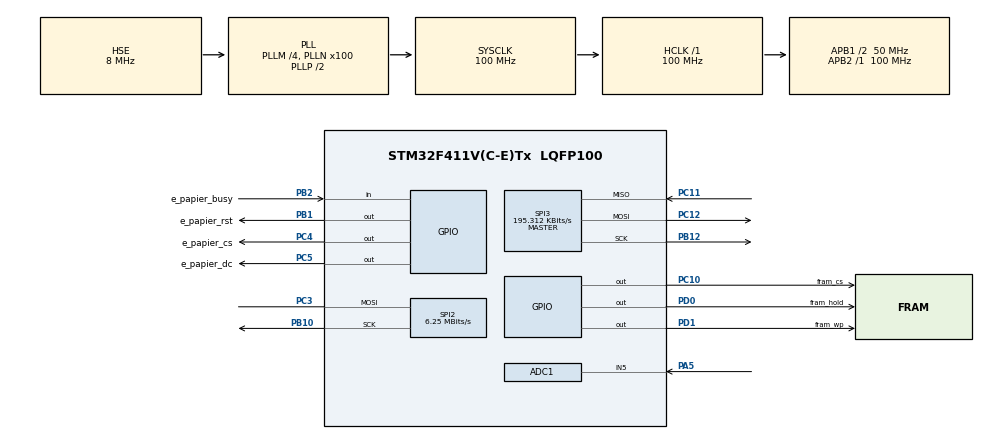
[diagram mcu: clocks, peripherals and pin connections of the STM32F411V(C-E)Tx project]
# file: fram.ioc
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ADC1.Channel-0\#ChannelRegularConversion=ADC_CHANNEL_5
ADC1.NbrOfConversionFlag=1
ADC1.Rank-0\#ChannelRegularConversion=1
ADC1.SamplingTime-0\#ChannelRegularConversion=ADC_SAMPLETIME_3CYCLES
ADC1.master=1
Mcu.Family=STM32F4
Mcu.Name=STM32F411V(C-E)Tx
Mcu.Package=LQFP100
NVIC.PriorityGroup=NVIC_PRIORITYGROUP_4
PA13.Mode=Serial_Wire
PA13.Signal=SYS_JTMS-SWDIO
PA14.Mode=Serial_Wire
PA14.Signal=SYS_JTCK-SWCLK
PA5.Signal=ADCx_IN5
PB1.GPIO_Label=e_papier_rst
PB1.PinState=GPIO_PIN_SET
PB1.Signal=GPIO_Output
PB10.Mode=Simplex_Bidirectional_Master
PB10.Signal=SPI2_SCK
PB12.Mode=Full_Duplex_Master
PB12.Signal=SPI3_SCK
PB2.GPIO_Label=e_papier_busy
PB2.Signal=GPIO_Input
PC10.GPIO_Label=fram_cs
PC10.PinState=GPIO_PIN_SET
PC10.Signal=GPIO_Output
PC11.Mode=Full_Duplex_Master
PC11.Signal=SPI3_MISO
PC12.Mode=Full_Duplex_Master
PC12.Signal=SPI3_MOSI
PC3.Mode=Simplex_Bidirectional_Master
PC3.Signal=SPI2_MOSI
PC4.GPIO_Label=e_papier_cs
PC4.PinState=GPIO_PIN_SET
PC4.Signal=GPIO_Output
PC5.GPIO_Label=e_papier_dc
PC5.Signal=GPIO_Output
PD0.GPIO_Label=fram_hold
PD0.PinState=GPIO_PIN_SET
PD0.Signal=GPIO_Output
PD1.GPIO_Label=fram_wp
PD1.PinState=GPIO_PIN_SET
PD1.Signal=GPIO_Output
PH0\ -\ OSC_IN.Mode=HSE-External-Oscillator
PH0\ -\ OSC_IN.Signal=RCC_OSC_IN
PH1\ -\ OSC_OUT.Mode=HSE-External-Oscillator
PH1\ -\ OSC_OUT.Signal=RCC_OSC_OUT
ProjectManager.HeapSize=0x200
ProjectManager.StackSize=0x400
ProjectManager.TargetToolchain=STM32CubeIDE
RCC.48MHZClocksFreq_Value=50000000
RCC.AHBFreq_Value=100000000
RCC.APB1CLKDivider=RCC_HCLK_DIV2
RCC.APB1Freq_Value=50000000
RCC.APB1TimFreq_Value=100000000
RCC.APB2Freq_Value=100000000
RCC.APB2TimFreq_Value=100000000
RCC.CortexFreq_Value=100000000
RCC.HCLKFreq_Value=100000000
RCC.HSE_VALUE=8000000
RCC.HSI_VALUE=16000000
RCC.LSE_VALUE=32768
RCC.PLLM=4
RCC.PLLN=100
RCC.PLLSourceVirtual=RCC_PLLSOURCE_HSE
RCC.SYSCLKFreq_VALUE=100000000
RCC.SYSCLKSource=RCC_SYSCLKSOURCE_PLLCLK
RCC.VCOOutputFreq_Value=200000000
SH.ADCx_IN5.0=ADC1_IN5,IN5
SPI2.BaudRatePrescaler=SPI_BAUDRATEPRESCALER_8
SPI2.CalculateBaudRate=6.25 MBits/s
SPI2.Direction=SPI_DIRECTION_1LINE
SPI2.Mode=SPI_MODE_MASTER
SPI2.VirtualType=VM_MASTER
SPI3.BaudRatePrescaler=SPI_BAUDRATEPRESCALER_256
SPI3.CLKPhase=SPI_PHASE_2EDGE
SPI3.CLKPolarity=SPI_POLARITY_HIGH
SPI3.CalculateBaudRate=195.312 KBits/s
SPI3.Direction=SPI_DIRECTION_2LINES
SPI3.Mode=SPI_MODE_MASTER
SPI3.VirtualType=VM_MASTER
board=custom

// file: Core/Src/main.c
/* USER CODE BEGIN Header */
/**
  ******************************************************************************
  * @file           : main.c
  * @brief          : Main program body
  ******************************************************************************
  * @attention
  *
  * Copyright (c) 2022 STMicroelectronics.
  * All rights reserved.
  *
  * This software is licensed under terms that can be found in the LICENSE file
  * in the root directory of this software component.
  * If no LICENSE file comes with this software, it is provided AS-IS.
  *
  ******************************************************************************
  */
/* USER CODE END Header */
#include "main.h"
#include "adc.h"
#include "spi.h"
#include "gpio.h"

/* USER CODE BEGIN Includes */
#include"e_papier.h"
#include"GFX_BW.h"
#include "fonts/fonts.h"
#include <stdio.h>
#include "fram.h"
#include <stdlib.h>
/* USER CODE END Includes */

/* USER CODE BEGIN PV */
fram_t fram1;
/* USER CODE END PV */

void SystemClock_Config(void);

int main(void)
{

  /* MCU Configuration--------------------------------------------------------*/

  /* Reset of all peripherals, Initializes the Flash interface and the Systick. */
  HAL_Init();

  /* Configure the system clock */
  SystemClock_Config();

  /* Initialize all configured peripherals */
  MX_GPIO_Init();
  MX_SPI2_Init();
  MX_SPI3_Init();
  MX_ADC1_Init();
  /* USER CODE BEGIN 2 */
  e_papier_init(&hspi2);
  GFX_SetFont(font_8x5);
  e_papier_display();
  fram_Init(&fram1, &hspi3, fram_hold_GPIO_Port, fram_cs_GPIO_Port, fram_wp_GPIO_Port, fram_hold_Pin, fram_cs_Pin, fram_wp_Pin);
  HAL_ADC_Start(&hadc1);
  HAL_ADC_PollForConversion(&hadc1, 1000);
  uint16_t adc=HAL_ADC_GetValue(&hadc1);
  srand(adc);
  uint8_t dataTx[360],dataRx[360];
  for(int i=0;i<360;i++)
  {
	  dataTx[i]=rand()%255;
  }
  fram_Write(&fram1, 0, dataTx, 360);
  HAL_Delay(100);
  fram_Read(&fram1, 0, dataRx, 360);
  HAL_Delay(1000);
  GFX_DrawLine(20, 299, 20, 299-dataRx[0], BLACK);
  for(int i=1;i<360;i++)
  {
	  GFX_DrawLine(19+i, 299-dataRx[i-1], 20+i, 299-dataRx[i], BLACK);
  }
  e_papier_display();
  e_papier_clear();
  /* USER CODE END 2 */

  /* Infinite loop */
  /* USER CODE BEGIN WHILE */
  while (1)
  {
	  for(int i=0;i<360;i++)
	  {
		  dataTx[i]=rand()%200;
	  }
	  fram_Write(&fram1, 0, dataTx, 360);
	  HAL_Delay(100);
	  fram_Read(&fram1, 0, dataRx, 360);
	  HAL_Delay(1000);
	  GFX_DrawLine(20, 299, 20, 299-dataRx[0], BLACK);
	  for(int i=1;i<360;i++)
	  {
		  GFX_DrawLine(19+i, 299-dataRx[i-1], 20+i, 299-dataRx[i], BLACK);
	  }
	  e_papier_display();
	  e_papier_clear();
	  HAL_Delay(10000);
    /* USER CODE END WHILE */

  }
}

void SystemClock_Config(void)
{
  RCC_OscInitTypeDef RCC_OscInitStruct = {0};
  RCC_ClkInitTypeDef RCC_ClkInitStruct = {0};

  /** Configure the main internal regulator output voltage
  */
  __HAL_RCC_PWR_CLK_ENABLE();
  __HAL_PWR_VOLTAGESCALING_CONFIG(PWR_REGULATOR_VOLTAGE_SCALE1);

  /** Initializes the RCC Oscillators according to the specified parameters
  * in the RCC_OscInitTypeDef structure.
  */
  RCC_OscInitStruct.OscillatorType = RCC_OSCILLATORTYPE_HSE;
  RCC_OscInitStruct.HSEState = RCC_HSE_ON;
  RCC_OscInitStruct.PLL.PLLState = RCC_PLL_ON;
  RCC_OscInitStruct.PLL.PLLSource = RCC_PLLSOURCE_HSE;
  RCC_OscInitStruct.PLL.PLLM = 4;
  RCC_OscInitStruct.PLL.PLLN = 100;
  RCC_OscInitStruct.PLL.PLLP = RCC_PLLP_DIV2;
  RCC_OscInitStruct.PLL.PLLQ = 4;
  if (HAL_RCC_OscConfig(&RCC_OscInitStruct) != HAL_OK)
  {
    Error_Handler();
  }

  /** Initializes the CPU, AHB and APB buses clocks
  */
  RCC_ClkInitStruct.ClockType = RCC_CLOCKTYPE_HCLK|RCC_CLOCKTYPE_SYSCLK
                              |RCC_CLOCKTYPE_PCLK1|RCC_CLOCKTYPE_PCLK2;
  RCC_ClkInitStruct.SYSCLKSource = RCC_SYSCLKSOURCE_PLLCLK;
  RCC_ClkInitStruct.AHBCLKDivider = RCC_SYSCLK_DIV1;
  RCC_ClkInitStruct.APB1CLKDivider = RCC_HCLK_DIV2;
  RCC_ClkInitStruct.APB2CLKDivider = RCC_HCLK_DIV1;

  if (HAL_RCC_ClockConfig(&RCC_ClkInitStruct, FLASH_LATENCY_3) != HAL_OK)
  {
    Error_Handler();
  }
}

void Error_Handler(void)
{
  __disable_irq();
  while (1)
  {
  }
}
